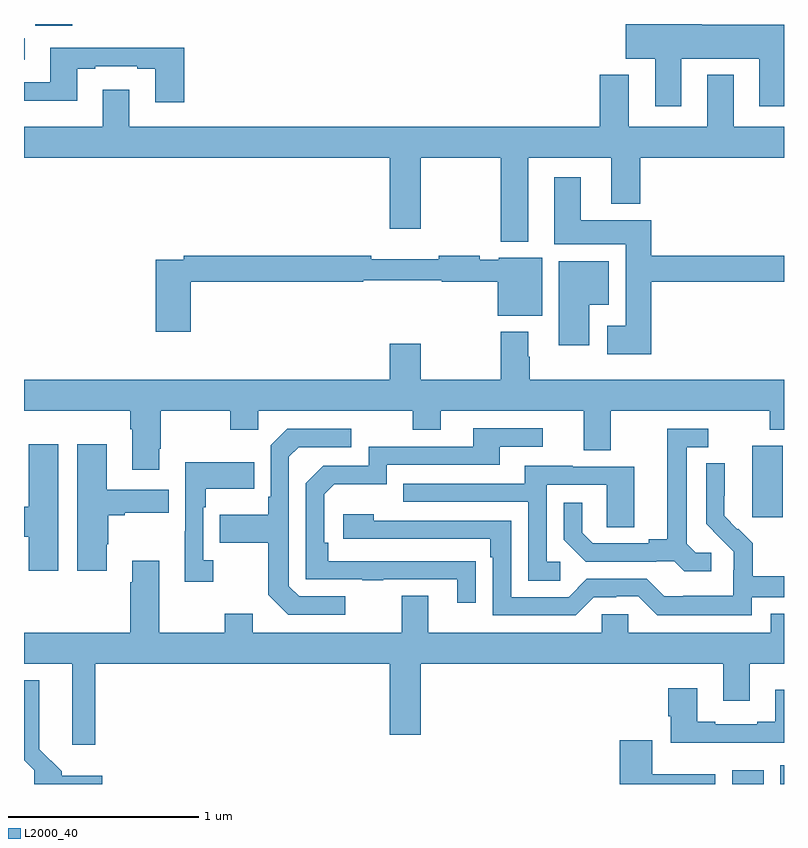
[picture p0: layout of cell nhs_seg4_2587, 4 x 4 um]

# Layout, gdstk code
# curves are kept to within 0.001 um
import gdstk
lib = gdstk.Library(unit=1e-6, precision=1e-09)
def R(c, l, rs):  # rectangles x0, y0, x1, y1
    for r in rs: c.add(gdstk.rectangle(r[:2], r[2:], *l))
def P(c, l, *ps):  # polygons
    for p in ps: c.add(gdstk.Polygon(p, *l))
L2000_40 = (2000, 40)

nhs_seg4_2587 = lib.new_cell('nhs_seg4_2587')
R(nhs_seg4_2587, L2000_40, [(250.727,750.9,250.894,750.973), (250.979,750.9,251,751), (250.832,752.304,250.993,752.68), (247,754.713,247.003,754.826), (247.058,754.892,247.255,754.9)])
P(nhs_seg4_2587, L2000_40, [(250.459,754.718),(250.871,754.718),(250.871,754.467),(251,754.467),(251,754.897),(250.567,754.897),(250.567,754.9),(250.166,754.9),(250.166,754.718),(250.322,754.718),(250.322,754.467),(250.459,754.467)],
  [(247.844,754.774),(247.139,754.774),(247.139,754.593),(247,754.593),(247,754.496),(247.279,754.496),(247.279,754.665),(247.375,754.665),(247.375,754.677),(247.595,754.677),(247.595,754.665),(247.691,754.665),(247.691,754.488),(247.844,754.488)],
  [(249.655,754.196),(250.091,754.196),(250.091,753.953),(250.244,753.953),(250.244,754.196),(251,754.196),(251,754.36),(250.735,754.36),(250.735,754.633),(250.595,754.633),(250.595,754.36),(250.183,754.36),(250.183,754.633),(250.031,754.633),(250.031,754.36),(247.555,754.36),(247.555,754.555),(247.415,754.555),(247.415,754.36),(247,754.36),(247,754.196),(248.924,754.196),(248.924,753.822),(249.088,753.822),(249.088,754.196),(249.508,754.196),(249.508,753.755),(249.655,753.755)],
  [(250.301,753.544),(251,753.544),(251,753.68),(250.301,753.68),(250.301,753.868),(249.931,753.868),(249.931,754.093),(249.791,754.093),(249.791,753.74),(250.166,753.74),(250.166,753.313),(250.071,753.313),(250.071,753.161),(250.301,753.161)],
  [(247.877,753.544),(248.785,753.544),(248.785,753.552),(249.198,753.552),(249.198,753.544),(249.494,753.544),(249.494,753.365),(249.727,753.365),(249.727,753.67),(249.498,753.67),(249.498,753.66),(249.398,753.66),(249.398,753.68),(249.184,753.68),(249.184,753.661),(248.828,753.661),(248.828,753.68),(247.84,753.68),(247.84,753.66),(247.694,753.66),(247.694,753.279),(247.877,753.279)],
  [(249.976,753.422),(250.078,753.422),(250.078,753.652),(249.815,753.652),(249.815,753.21),(249.976,753.21)],
  [(247.711,752.665),(247.719,752.665),(247.719,752.864),(248.086,752.864),(248.086,752.765),(248.232,752.765),(248.232,752.864),(249.046,752.864),(249.046,752.765),(249.193,752.765),(249.193,752.864),(249.947,752.864),(249.947,752.656),(250.087,752.656),(250.087,752.864),(250.924,752.864),(250.924,752.765),(251,752.765),(251,753.028),(249.663,753.028),(249.663,753.149),(249.655,753.149),(249.655,753.28),(249.508,753.28),(249.508,753.028),(249.088,753.028),(249.088,753.217),(248.924,753.217),(248.924,753.028),(247,753.028),(247,752.864),(247.559,752.864),(247.559,752.768),(247.571,752.768),(247.571,752.553),(247.711,752.553)],
  [(249.377,752.072),(248.6,752.073),(248.6,752.17),(248.58,752.17),(248.58,752.424),(248.633,752.477),(248.91,752.477),(248.91,752.58),(249.505,752.58),(249.505,752.676),(249.73,752.676),(249.73,752.772),(249.365,752.772),(249.365,752.676),(248.814,752.676),(248.814,752.574),(248.574,752.574),(248.484,752.484),(248.484,751.977),(248.779,751.977),(248.779,751.972),(248.891,751.972),(248.891,751.977),(249.281,751.977),(249.281,751.854),(249.377,751.854)],
  [(250.618,752.118),(250.536,752.118),(250.489,752.165),(250.489,752.673),(250.6,752.673),(250.6,752.769),(250.385,752.769),(250.385,752.189),(250.289,752.189),(250.289,752.166),(249.994,752.166),(249.937,752.223),(249.937,752.38),(249.84,752.38),(249.84,752.186),(249.956,752.07),(250.328,752.07),(250.328,752.073),(250.422,752.073),(250.474,752.021),(250.618,752.021)],
  [(248.692,751.887),(248.448,751.887),(248.394,751.941),(248.394,752.622),(248.445,752.673),(248.722,752.673),(248.722,752.769),(248.385,752.769),(248.298,752.682),(248.298,752.413),(248.286,752.413),(248.286,752.317),(248.029,752.317),(248.029,752.17),(248.286,752.17),(248.286,751.897),(248.391,751.791),(248.692,751.791)],
  [(247.435,752.161),(247.443,752.161),(247.443,752.315),(247.531,752.315),(247.531,752.327),(247.763,752.327),(247.763,752.449),(247.435,752.449),(247.435,752.689),(247.28,752.689),(247.28,752.022),(247.435,752.022)],
  [(247.18,752.689),(247.025,752.689),(247.025,752.359),(247,752.359),(247,752.201),(247.025,752.201),(247.025,752.022),(247.18,752.022)],
  [(247.996,752.078),(247.944,752.078),(247.944,752.357),(247.957,752.357),(247.957,752.453),(248.213,752.453),(248.213,752.593),(247.848,752.593),(247.848,752.231),(247.847,752.231),(247.847,751.965),(247.996,751.965)],
  [(250.83,751.884),(251,751.884),(251,751.993),(250.835,751.993),(250.835,752.167),(250.758,752.244),(250.755,752.241),(250.685,752.312),(250.685,752.416),(250.687,752.416),(250.687,752.588),(250.59,752.588),(250.59,752.27),(250.736,752.122),(250.736,752.025),(250.734,752.025),(250.734,751.891),(250.471,751.891),(250.471,751.887),(250.371,751.887),(250.278,751.98),(249.963,751.98),(249.867,751.884),(249.564,751.884),(249.564,752.286),(248.84,752.286),(248.84,752.32),(248.679,752.32),(248.679,752.19),(249.455,752.19),(249.455,752.093),(249.468,752.093),(249.468,751.788),(249.903,751.788),(249.999,751.884),(250.118,751.884),(250.118,751.887),(250.233,751.887),(250.333,751.787),(250.83,751.787)],
  [(249.823,752.07),(249.75,752.07),(249.75,752.475),(250.068,752.475),(250.068,752.251),(250.213,752.251),(250.213,752.571),(249.889,752.571),(249.889,752.575),(249.635,752.575),(249.635,752.481),(248.995,752.481),(248.995,752.385),(249.654,752.385),(249.654,751.969),(249.823,751.969)],
  [(247.376,751.532),(248.924,751.532),(248.924,751.158),(249.088,751.158),(249.088,751.532),(250.679,751.532),(250.679,751.338),(250.819,751.338),(250.819,751.532),(251,751.532),(251,751.795),(250.931,751.795),(250.931,751.696),(250.179,751.696),(250.179,751.794),(250.041,751.794),(250.041,751.696),(249.127,751.696),(249.127,751.891),(248.987,751.891),(248.987,751.696),(248.203,751.696),(248.203,751.795),(248.056,751.795),(248.056,751.696),(247.711,751.696),(247.711,752.074),(247.571,752.074),(247.571,751.961),(247.559,751.961),(247.559,751.696),(247,751.696),(247,751.532),(247.253,751.532),(247.253,751.107),(247.376,751.107)],
  [(247.411,750.943),(247.199,750.943),(247.199,750.966),(247.081,751.084),(247.081,751.447),(247,751.447),(247,751.025),(247.053,750.972),(247.053,750.9),(247.411,750.9)],
  [(251,751.396),(250.955,751.396),(250.955,751.228),(250.859,751.228),(250.859,751.215),(250.639,751.215),(250.639,751.228),(250.543,751.228),(250.543,751.405),(250.391,751.405),(250.391,751.257),(250.403,751.257),(250.403,751.118),(251,751.118)],
  [(250.639,750.952),(250.306,750.952),(250.306,751.129),(250.136,751.129),(250.136,750.9),(250.639,750.9)])

lib.write_gds('nhs_seg4_2587.gds')
